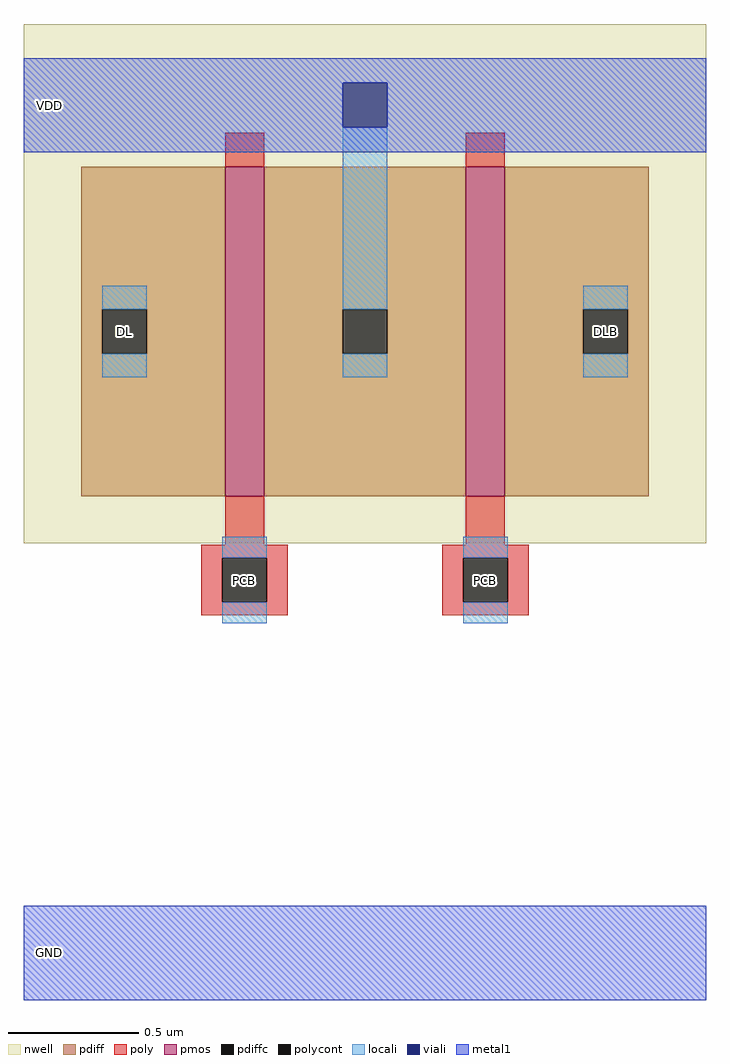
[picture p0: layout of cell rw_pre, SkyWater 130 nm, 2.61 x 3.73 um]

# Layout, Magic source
magic
tech sky130A
magscale 1 2
<< nwell >>
rect 0 313 522 710
<< pmos >>
rect 154 349 184 601
rect 338 349 368 601
<< pdiff >>
rect 44 492 154 601
rect 44 458 60 492
rect 94 458 154 492
rect 44 349 154 458
rect 184 492 338 601
rect 184 458 244 492
rect 278 458 338 492
rect 184 349 338 458
rect 368 492 478 601
rect 368 458 428 492
rect 462 458 478 492
rect 368 349 478 458
<< pdiffc >>
rect 60 458 94 492
rect 244 458 278 492
rect 428 458 462 492
<< poly >>
rect 154 601 184 627
rect 338 601 368 627
rect 154 312 184 349
rect 338 312 368 349
rect 136 302 202 312
rect 136 268 152 302
rect 186 268 202 302
rect 136 258 202 268
rect 320 302 386 312
rect 320 268 336 302
rect 370 268 386 302
rect 320 258 386 268
<< polycont >>
rect 152 268 186 302
rect 336 268 370 302
<< locali >>
rect 60 492 94 510
rect 60 440 94 458
rect 244 492 278 631
rect 244 440 278 458
rect 428 492 462 510
rect 428 440 462 458
rect 152 302 186 318
rect 152 252 186 268
rect 336 302 370 318
rect 336 252 370 268
<< viali >>
rect 244 631 278 665
<< metal1 >>
rect 0 665 522 684
rect 0 631 244 665
rect 278 631 522 665
rect 0 612 522 631
rect 0 -36 522 36
<< labels >>
rlabel polycont 169 285 169 285 0 PCB
port 1 nsew
rlabel polycont 353 285 353 285 0 PCB
port 1 nsew
rlabel pdiffc 77 475 77 475 0 DL
port 2 nsew
rlabel pdiffc 445 475 445 475 0 DLB
port 3 nsew
rlabel metal1 20 648 20 648 0 VDD
port 4 nsew
rlabel metal1 20 0 20 0 0 GND
port 5 nsew
<< end >>
